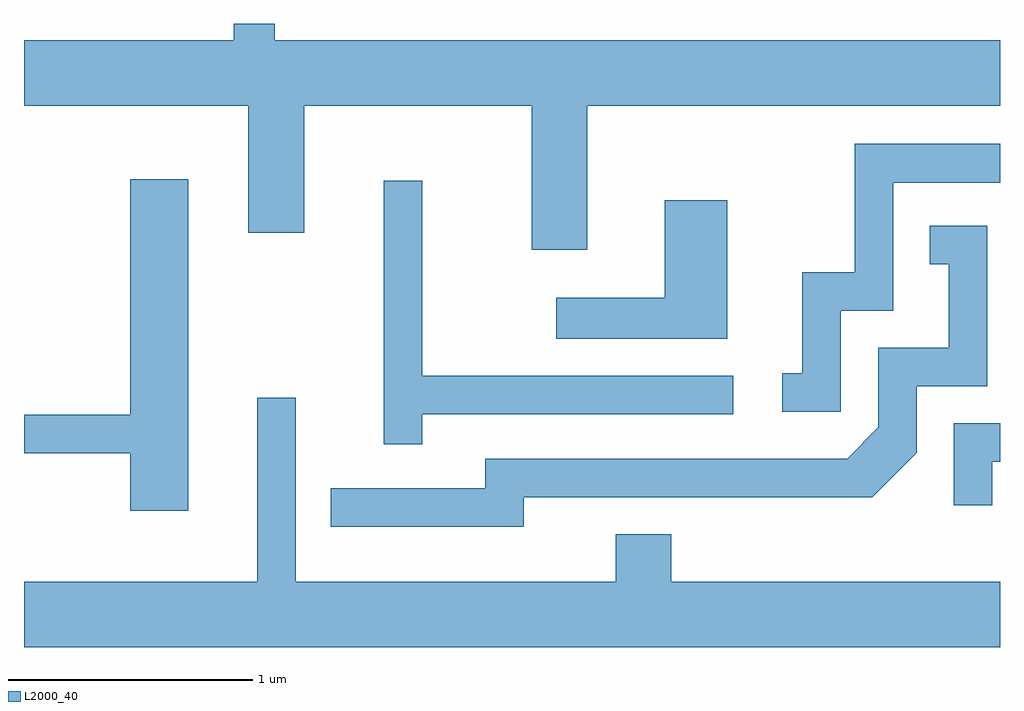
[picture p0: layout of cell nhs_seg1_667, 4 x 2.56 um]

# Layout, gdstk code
import gdstk
lib = gdstk.Library(unit=1e-6, precision=1e-09)
def P(c, l, *ps):  # polygons
    for p in ps: c.add(gdstk.Polygon(p, *l))
L2000_40 = (2000, 40)

nhs_seg1_667 = lib.new_cell('nhs_seg1_667')
P(nhs_seg1_667, L2000_40, [(206.639,877.712),(206.471,877.712),(206.471,877.644),(205.611,877.644),(205.611,877.376),(206.531,877.376),(206.531,876.856),(206.759,876.856),(206.759,877.376),(207.691,877.376),(207.691,876.786),(207.919,876.786),(207.919,877.376),(209.611,877.376),(209.611,877.644),(206.639,877.644)],
  [(208.959,876.536),(209.174,876.536),(209.174,877.061),(209.611,877.061),(209.611,877.219),(209.016,877.219),(209.016,876.694),(208.801,876.694),(208.801,876.279),(208.718,876.279),(208.718,876.121),(208.959,876.121)],
  [(206.284,877.074),(206.046,877.074),(206.046,876.109),(205.611,876.109),(205.611,875.951),(206.046,875.951),(206.046,875.716),(206.284,875.716)],
  [(207.244,876.111),(208.518,876.111),(208.518,876.269),(207.244,876.269),(207.244,877.068),(207.086,877.068),(207.086,875.988),(207.244,875.988)],
  [(208.494,876.989),(208.236,876.989),(208.236,876.589),(207.793,876.589),(207.793,876.421),(208.494,876.421)],
  [(207.659,875.771),(209.087,875.771),(209.269,875.954),(209.269,876.226),(209.559,876.226),(209.559,876.884),(209.323,876.884),(209.323,876.726),(209.401,876.726),(209.401,876.384),(209.111,876.384),(209.111,876.057),(208.984,875.929),(207.501,875.929),(207.501,875.809),(206.868,875.809),(206.868,875.651),(207.659,875.651)],
  [(209.611,875.424),(208.264,875.424),(208.264,875.619),(208.036,875.619),(208.036,875.424),(206.724,875.424),(206.724,876.178),(206.566,876.178),(206.566,875.424),(205.611,875.424),(205.611,875.156),(209.611,875.156)],
  [(209.579,875.916),(209.611,875.916),(209.611,876.074),(209.421,876.074),(209.421,875.738),(209.579,875.738)])

lib.write_gds('nhs_seg1_667.gds')
